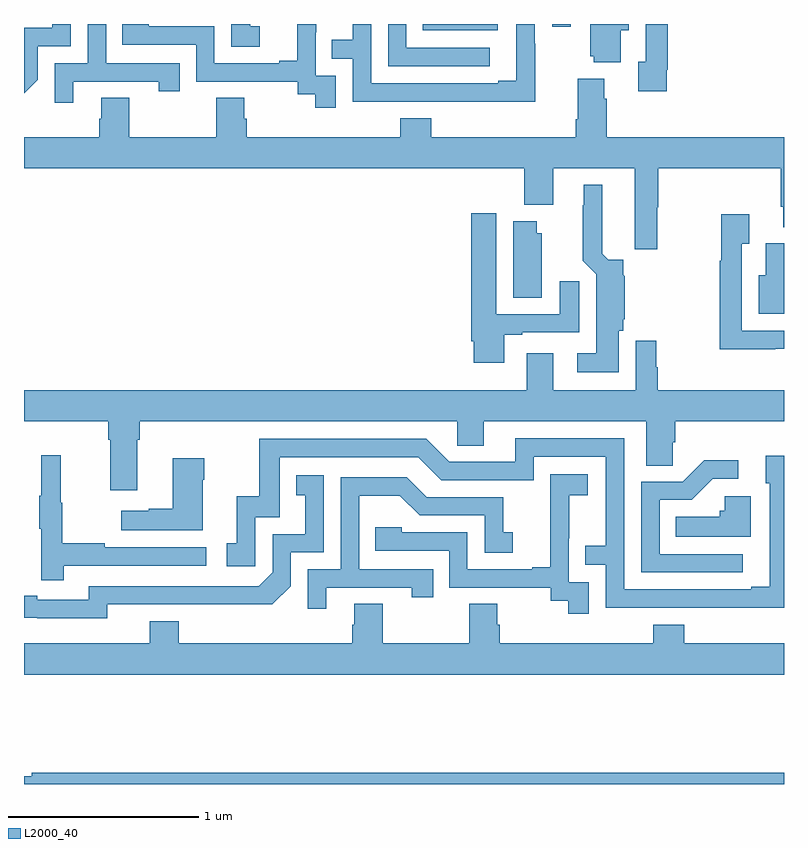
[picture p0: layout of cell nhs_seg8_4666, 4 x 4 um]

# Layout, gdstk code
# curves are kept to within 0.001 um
import gdstk
lib = gdstk.Library(unit=1e-6, precision=1e-09)
def R(c, l, rs):  # rectangles x0, y0, x1, y1
    for r in rs: c.add(gdstk.rectangle(r[:2], r[2:], *l))
def P(c, l, *ps):  # polygons
    for p in ps: c.add(gdstk.Polygon(p, *l))
L2000_40 = (2000, 40)

nhs_seg8_4666 = lib.new_cell('nhs_seg8_4666')
R(nhs_seg8_4666, L2000_40, [(395.098,1143.866,395.494,1143.9), (395.781,1143.885,395.877,1143.9)])
P(nhs_seg8_4666, L2000_40, [(393.259,1143.597),(393.71,1143.597),(393.71,1143.546),(393.821,1143.546),(393.821,1143.693),(393.432,1143.693),(393.432,1143.9),(393.336,1143.9),(393.336,1143.693),(393.162,1143.693),(393.162,1143.486),(393.259,1143.486)],
  [(393.072,1143.606),(393.072,1143.783),(393.246,1143.783),(393.246,1143.9),(393.149,1143.9),(393.149,1143.879),(393,1143.879),(393,1143.535)],
  [(396.382,1143.658),(396.389,1143.658),(396.389,1143.9),(396.273,1143.9),(396.273,1143.702),(396.233,1143.702),(396.233,1143.546),(396.382,1143.546)],
  [(395.452,1143.774),(395.013,1143.774),(395.013,1143.9),(394.917,1143.9),(394.917,1143.678),(395.452,1143.678)],
  [(395.691,1143.797),(395.688,1143.797),(395.688,1143.9),(395.592,1143.9),(395.592,1143.601),(395.495,1143.601),(395.495,1143.588),(394.827,1143.588),(394.827,1143.9),(394.731,1143.9),(394.731,1143.818),(394.621,1143.818),(394.621,1143.717),(394.731,1143.717),(394.731,1143.492),(395.227,1143.492),(395.227,1143.491),(395.691,1143.491)],
  [(396.142,1143.866),(396.184,1143.866),(396.184,1143.9),(395.981,1143.9),(395.981,1143.729),(395.999,1143.729),(395.999,1143.698),(396.142,1143.698)],
  [(394.24,1143.889),(394.191,1143.889),(394.191,1143.9),(394.092,1143.9),(394.092,1143.78),(394.24,1143.78)],
  [(394.641,1143.627),(394.536,1143.627),(394.536,1143.857),(394.538,1143.857),(394.538,1143.9),(394.439,1143.9),(394.439,1143.706),(394.343,1143.706),(394.343,1143.693),(394.002,1143.693),(394.002,1143.888),(393.657,1143.888),(393.657,1143.9),(393.517,1143.9),(393.517,1143.792),(393.906,1143.792),(393.906,1143.597),(394.44,1143.597),(394.44,1143.529),(394.533,1143.529),(394.533,1143.459),(394.641,1143.459)],
  [(396.055,1143.506),(396.055,1143.613),(395.915,1143.613),(395.915,1143.4),(395.903,1143.4),(395.903,1143.304),(395.144,1143.304),(395.144,1143.403),(394.979,1143.403),(394.979,1143.304),(394.172,1143.304),(394.172,1143.402),(394.159,1143.402),(394.159,1143.512),(394.012,1143.512),(394.012,1143.304),(393.555,1143.304),(393.555,1143.512),(393.407,1143.512),(393.407,1143.402),(393.395,1143.402),(393.395,1143.304),(393,1143.304),(393,1143.14),(395.633,1143.14),(395.633,1142.948),(395.785,1142.948),(395.785,1143.14),(396.215,1143.14),(396.215,1142.715),(396.333,1142.715),(396.333,1142.936),(396.338,1142.936),(396.338,1143.14),(396.983,1143.14),(396.983,1142.938),(396.995,1142.938),(396.995,1142.831),(397,1142.831),(397,1143.304),(396.068,1143.304),(396.068,1143.506)],
  [(396.13,1142.286),(396.155,1142.286),(396.155,1142.346),(396.161,1142.346),(396.161,1142.573),(396.155,1142.579),(396.155,1142.658),(396.076,1142.658),(396.043,1142.692),(396.043,1143.055),(395.945,1143.055),(395.945,1142.945),(395.941,1142.945),(395.941,1142.654),(396.011,1142.584),(396.011,1142.167),(395.913,1142.167),(395.913,1142.066),(396.13,1142.066)],
  [(395.527,1142.265),(395.623,1142.265),(395.623,1142.277),(395.923,1142.277),(395.923,1142.545),(395.819,1142.545),(395.819,1142.373),(395.485,1142.373),(395.485,1142.905),(395.354,1142.905),(395.354,1142.23),(395.366,1142.23),(395.366,1142.118),(395.527,1142.118)],
  [(396.953,1142.19),(397,1142.19),(397,1142.286),(396.777,1142.286),(396.777,1142.743),(396.817,1142.743),(396.817,1142.899),(396.669,1142.899),(396.669,1142.654),(396.661,1142.654),(396.661,1142.189),(396.953,1142.189)],
  [(395.725,1142.799),(395.698,1142.799),(395.698,1142.863),(395.576,1142.863),(395.576,1142.458),(395.725,1142.458)],
  [(397,1142.746),(396.905,1142.746),(396.905,1142.578),(396.866,1142.578),(396.866,1142.375),(397,1142.375)],
  [(393.595,1141.712),(393.608,1141.712),(393.608,1141.808),(395.28,1141.808),(395.28,1141.681),(395.419,1141.681),(395.419,1141.808),(396.275,1141.808),(396.275,1141.576),(396.414,1141.576),(396.414,1141.699),(396.428,1141.699),(396.428,1141.808),(397,1141.808),(397,1141.972),(396.335,1141.972),(396.335,1142.094),(396.328,1142.094),(396.328,1142.233),(396.219,1142.233),(396.219,1141.972),(395.785,1141.972),(395.785,1142.167),(395.645,1142.167),(395.645,1141.972),(393,1141.972),(393,1141.808),(393.443,1141.808),(393.443,1141.712),(393.455,1141.712),(393.455,1141.446),(393.595,1141.446)],
  [(397,1141.627),(396.905,1141.627),(396.905,1141.482),(396.924,1141.482),(396.924,1140.937),(396.827,1140.937),(396.827,1140.924),(396.159,1140.924),(396.159,1141.719),(395.585,1141.719),(395.585,1141.596),(395.238,1141.596),(395.118,1141.716),(394.239,1141.716),(394.239,1141.414),(394.121,1141.414),(394.121,1141.167),(394.068,1141.167),(394.068,1141.047),(394.218,1141.047),(394.218,1141.305),(394.347,1141.305),(394.347,1141.62),(395.076,1141.62),(395.196,1141.5),(395.682,1141.5),(395.682,1141.623),(396.063,1141.623),(396.063,1141.154),(395.953,1141.154),(395.953,1141.053),(396.063,1141.053),(396.063,1140.828),(397,1140.827)],
  [(393.209,1141.05),(393.958,1141.05),(393.958,1141.146),(393.425,1141.146),(393.425,1141.166),(393.202,1141.166),(393.202,1141.38),(393.194,1141.38),(393.194,1141.63),(393.092,1141.63),(393.092,1141.417),(393.081,1141.417),(393.081,1141.243),(393.092,1141.243),(393.092,1140.972),(393.209,1140.972)],
  [(393.94,1141.502),(393.948,1141.502),(393.948,1141.615),(393.782,1141.615),(393.782,1141.349),(393.656,1141.349),(393.656,1141.339),(393.513,1141.339),(393.513,1141.235),(393.94,1141.235)],
  [(396.784,1141.11),(396.345,1141.11),(396.345,1141.395),(396.514,1141.395),(396.625,1141.506),(396.76,1141.506),(396.76,1141.604),(396.581,1141.604),(396.468,1141.491),(396.249,1141.491),(396.249,1141.014),(396.784,1141.014)],
  [(395.973,1140.963),(395.868,1140.963),(395.868,1141.193),(395.87,1141.193),(395.87,1141.421),(395.968,1141.421),(395.968,1141.531),(395.77,1141.531),(395.77,1141.325),(395.771,1141.325),(395.771,1141.042),(395.675,1141.042),(395.675,1141.029),(395.334,1141.029),(395.334,1141.224),(394.989,1141.224),(394.989,1141.251),(394.849,1141.251),(394.849,1141.128),(395.238,1141.128),(395.238,1140.933),(395.772,1140.933),(395.772,1140.865),(395.865,1140.865),(395.865,1140.795),(395.973,1140.795)],
  [(393.438,1140.846),(394.306,1140.845),(394.404,1140.942),(394.404,1141.119),(394.578,1141.119),(394.578,1141.525),(394.432,1141.525),(394.432,1141.419),(394.481,1141.419),(394.481,1141.215),(394.308,1141.215),(394.308,1141.014),(394.236,1140.942),(393.342,1140.942),(393.342,1140.87),(393.07,1140.87),(393.07,1140.89),(393,1140.89),(393,1140.774),(393.438,1140.773)],
  [(394.591,1140.933),(395.042,1140.933),(395.042,1140.882),(395.153,1140.882),(395.153,1141.029),(394.764,1141.029),(394.764,1141.418),(394.978,1141.418),(395.082,1141.314),(395.424,1141.314),(395.424,1141.116),(395.572,1141.116),(395.572,1141.225),(395.523,1141.225),(395.523,1141.41),(395.119,1141.41),(395.014,1141.515),(394.668,1141.515),(394.668,1141.029),(394.494,1141.029),(394.494,1140.822),(394.591,1140.822)],
  [(396.826,1141.414),(396.687,1141.414),(396.687,1141.338),(396.661,1141.338),(396.661,1141.306),(396.43,1141.306),(396.43,1141.202),(396.826,1141.202)],
  [(397,1140.64),(396.476,1140.64),(396.476,1140.739),(396.311,1140.739),(396.311,1140.64),(395.504,1140.64),(395.504,1140.738),(395.491,1140.738),(395.491,1140.848),(395.344,1140.848),(395.344,1140.64),(394.887,1140.64),(394.887,1140.848),(394.739,1140.848),(394.739,1140.738),(394.727,1140.738),(394.727,1140.64),(393.815,1140.64),(393.815,1140.757),(393.662,1140.757),(393.662,1140.64),(393,1140.64),(393,1140.476),(397,1140.476)],
  [(397,1139.96),(393.04,1139.96),(393.04,1139.941),(393,1139.941),(393,1139.9),(397,1139.9)])

lib.write_gds('nhs_seg8_4666.gds')
